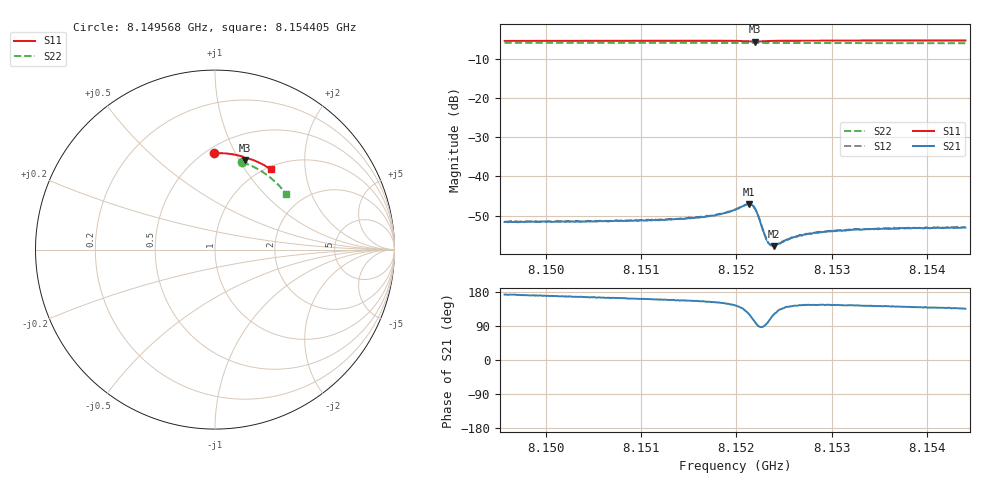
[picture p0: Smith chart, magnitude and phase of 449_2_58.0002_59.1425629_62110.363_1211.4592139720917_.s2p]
#  HZ  S  RI  R  50.00
! Rohde & Schwarz Vector Network Analyzer
! Rohde-Schwarz,ZNB20-2Port,1311601062101988,3.16
! Created: UTC 3/21/2024, 1:10:23 AM
! freq[Hz]  re:S11  im:S11  re:S21  im:S21  re:S12  im:S12  re:S22  im:S22
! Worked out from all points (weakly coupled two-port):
!   401 points, 8.149568 GHz to 8.154405 GHz, reference 50 ohm
!   highest |S21| = -47.07 dB at 8.152132 GHz (marker M1); lowest = -57.8 dB at 8.152398 GHz (marker M2)
!   lowest |S11| = -5.6 dB at 8.152192 GHz (marker M3), VSWR 3.23, Z = 38.4 + j53.1 ohm
!   |S11| at or under -10 dB: nowhere
!   |S22| runs from -6.0 to -5.8 dB; largest |S21 - S12| = 0.00011
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8.1495679e9  -0.00561 0.5375  -0.0026 0.000331  -0.00261 0.00037  0.1514 0.4872
8.1503781e9  0.0508 0.5366  -0.00258 0.000609  -0.00261 0.000666  0.1999 0.4682
8.1511883e9  0.1071 0.5294  -0.00258 0.000972  -0.00263 0.00103  0.2461 0.4443
8.1516599e9  0.1401 0.5223  -0.00274 0.00129  -0.00276 0.00137  0.2715 0.4283
8.1518655e9  0.1551 0.5174  -0.00293 0.00169  -0.00289 0.00172  0.2823 0.4208
8.1519864e9  0.1643 0.513  -0.00304 0.0022  -0.00302 0.00227  0.2885 0.4164
8.1520953e9  0.1715 0.5056  -0.00281 0.0033  -0.00277 0.00336  0.2941 0.4119
8.1521316e9  0.1722 0.5023  -0.00231 0.00378  -0.00226 0.00381  0.2959 0.4105
8.1521678e9  0.1707 0.4995  -0.00146 0.00406  -0.0014 0.00409  0.2975 0.4091
8.152192e9  0.1689 0.4991  -0.00076 0.00384  -0.00073 0.00395  0.2985 0.4082
8.1522283e9  0.1674 0.5011  -1.27e-05 0.00318  3.97e-07 0.00321  0.3002 0.407
8.1522888e9  0.1697 0.5057  3e-05 0.00193  5.69e-05 0.00194  0.3033 0.4048
8.152325e9  0.173 0.5072  -0.000199 0.0015  -0.000178 0.00149  0.3052 0.4035
8.1523371e9  0.174 0.5074  -0.000282 0.00138  -0.000295 0.00141  0.3057 0.403
8.1523613e9  0.1762 0.5077  -0.000447 0.00124  -0.000417 0.00126  0.307 0.402
8.1523976e9  0.1795 0.508  -0.000661 0.0011  -0.000666 0.00113  0.309 0.4006
8.152579e9  0.1941 0.5053  -0.00129 0.00102  -0.00129 0.00104  0.3178 0.3934
8.1527967e9  0.2096 0.5001  -0.00154 0.00106  -0.00155 0.00111  0.3283 0.3844
8.1529901e9  0.2226 0.4948  -0.00166 0.00117  -0.00163 0.00113  0.3372 0.3759
8.1532441e9  0.2388 0.4879  -0.0017 0.00124  -0.00169 0.00127  0.3488 0.3648
8.1536069e9  0.2617 0.4768  -0.00169 0.00134  -0.00171 0.00138  0.3645 0.3482
8.154405e9  0.3093 0.4488  -0.00158 0.00156  -0.00158 0.00155  0.3963 0.3094
